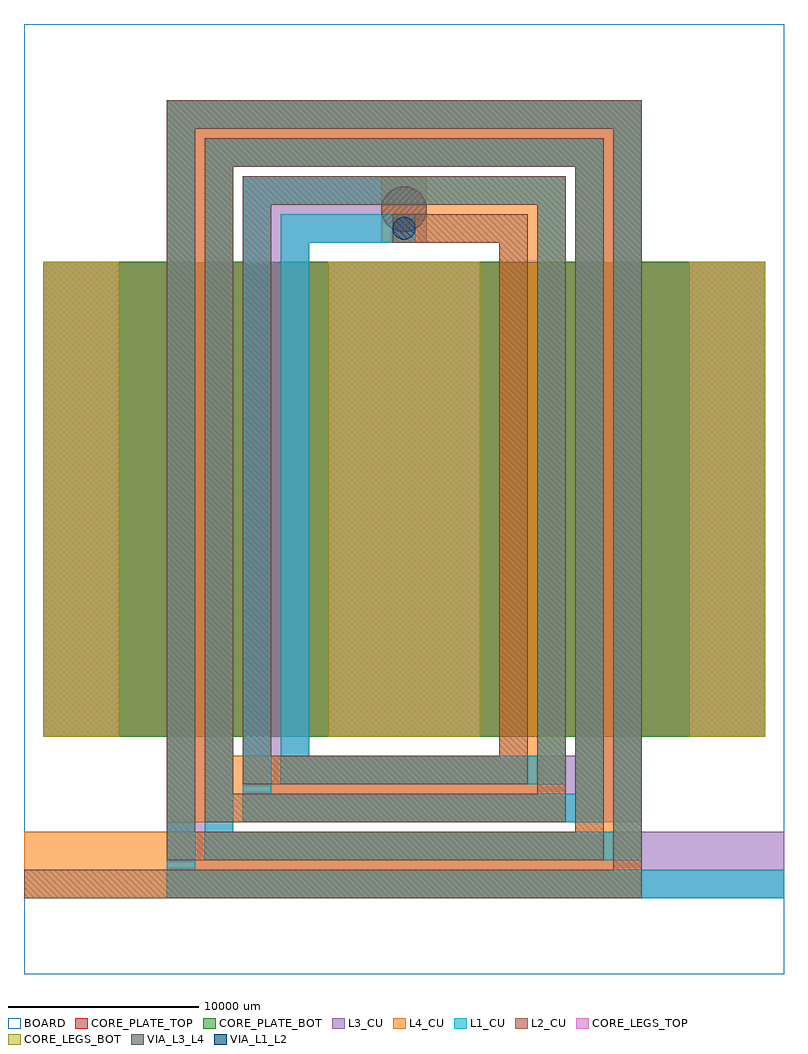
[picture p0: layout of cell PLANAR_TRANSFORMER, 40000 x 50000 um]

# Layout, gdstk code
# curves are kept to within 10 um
import gdstk
lib = gdstk.Library(unit=1e-6, precision=1e-09)
def R(c, l, rs):  # rectangles x0, y0, x1, y1
    for r in rs: c.add(gdstk.rectangle(r[:2], r[2:], *l))
def P(c, l, *ps):  # polygons
    for p in ps: c.add(gdstk.Polygon(p, *l))
L1_CU = (1, 0)
L2_CU = (2, 0)
L3_CU = (3, 0)
L4_CU = (4, 0)
VIA_L1_L2 = (11, 0)
VIA_L3_L4 = (12, 0)
CORE_LEGS_TOP = (20, 0)
CORE_PLATE_TOP = (21, 0)
CORE_LEGS_BOT = (22, 0)
CORE_PLATE_BOT = (23, 0)
BOARD = (99, 0)

planar_transformer = lib.new_cell('PLANAR_TRANSFORMER')
P(planar_transformer, L1_CU, [(-12500,-21000),(-12500,21000),(12500,21000),(12500,-19000),(-10500,-19000),(-10500,19000),(10500,19000),(10500,-17000),(-8500,-17000),(-8500,17000),(8500,17000),(8500,-15000),(-6500,-15000),(-6500,15000),(600,15000),(600,13500),(-5000,13500),(-5000,-13500),(7000,-13500),(7000,15500),(-7000,15500),(-7000,-15500),(9000,-15500),(9000,17500),(-9000,17500),(-9000,-17500),(11000,-17500),(11000,19500),(-11000,19500),(-11000,-19500),(20000,-19500),(20000,-21000)])
P(planar_transformer, L2_CU, [(-20000,-21000),(-20000,-19500),(11000,-19500),(11000,19500),(-11000,19500),(-11000,-17500),(9000,-17500),(9000,17500),(-9000,17500),(-9000,-15500),(7000,-15500),(7000,15500),(-7000,15500),(-7000,-13500),(5000,-13500),(5000,13500),(-600,13500),(-600,15000),(6500,15000),(6500,-15000),(-8500,-15000),(-8500,17000),(8500,17000),(8500,-17000),(-10500,-17000),(-10500,19000),(10500,19000),(10500,-19000),(-12500,-19000),(-12500,21000),(12500,21000),(12500,-21000)])
P(planar_transformer, L3_CU, [(-12500,-21000),(-12500,-21000),(-12500,21000),(-12500,21000),(12500,21000),(12500,21000),(12500,-17000),(12500,-17000),(-8500,-17000),(-8500,-17000),(-8500,17000),(-8500,17000),(1200,17000),(1200,13500),(-5000,13500),(-5000,-13500),(9000,-13500),(9000,17500),(-9000,17500),(-9000,-17500),(20000,-17500),(20000,-21000)])
P(planar_transformer, L4_CU, [(-20000,-21000),(-20000,-17500),(9000,-17500),(9000,17500),(-9000,17500),(-9000,-13500),(5000,-13500),(5000,13500),(-1200,13500),(-1200,17000),(8500,17000),(8500,17000),(8500,-17000),(8500,-17000),(-12500,-17000),(-12500,-17000),(-12500,21000),(-12500,21000),(12500,21000),(12500,21000),(12500,-21000),(12500,-21000)])
P(planar_transformer, VIA_L1_L2, [(0,13650),(-117.054,13661.529),(-229.61,13695.672),(-333.342,13751.118),(-424.264,13825.736),(-498.882,13916.658),(-554.328,14020.39),(-588.471,14132.946),(-600,14250),(-588.471,14367.054),(-554.328,14479.61),(-498.882,14583.342),(-424.264,14674.264),(-333.342,14748.882),(-229.61,14804.328),(-117.054,14838.471),(0,14850),(117.054,14838.471),(229.61,14804.328),(333.342,14748.882),(424.264,14674.264),(498.882,14583.342),(554.328,14479.61),(588.471,14367.054),(600,14250),(588.471,14132.946),(554.328,14020.39),(498.882,13916.658),(424.264,13825.736),(333.342,13751.118),(229.61,13695.672),(117.054,13661.529)])
P(planar_transformer, VIA_L3_L4, [(0,14050),(-234.108,14073.058),(-459.22,14141.345),(-666.684,14252.236),(-848.528,14401.472),(-997.764,14583.316),(-1108.655,14790.78),(-1176.942,15015.892),(-1200,15250),(-1176.942,15484.108),(-1108.655,15709.22),(-997.764,15916.684),(-848.528,16098.528),(-666.684,16247.764),(-459.22,16358.655),(-234.108,16426.942),(0,16450),(234.108,16426.942),(459.22,16358.655),(666.684,16247.764),(848.528,16098.528),(997.764,15916.684),(1108.655,15709.22),(1176.942,15484.108),(1200,15250),(1176.942,15015.892),(1108.655,14790.78),(997.764,14583.316),(848.528,14401.472),(666.684,14252.236),(459.22,14141.345),(234.108,14073.058)])
R(planar_transformer, CORE_LEGS_TOP, [(-19000,-12500,-15000,12500), (-4000,-12500,4000,12500), (15000,-12500,19000,12500)])
R(planar_transformer, CORE_PLATE_TOP, [(-19000,-12500,19000,12500)])
R(planar_transformer, CORE_LEGS_BOT, [(-19000,-12500,-15000,12500), (-4000,-12500,4000,12500), (15000,-12500,19000,12500)])
R(planar_transformer, CORE_PLATE_BOT, [(-19000,-12500,19000,12500)])
R(planar_transformer, BOARD, [(-20000,-25000,20000,25000)])

lib.write_gds('PLANAR_TRANSFORMER.gds')
